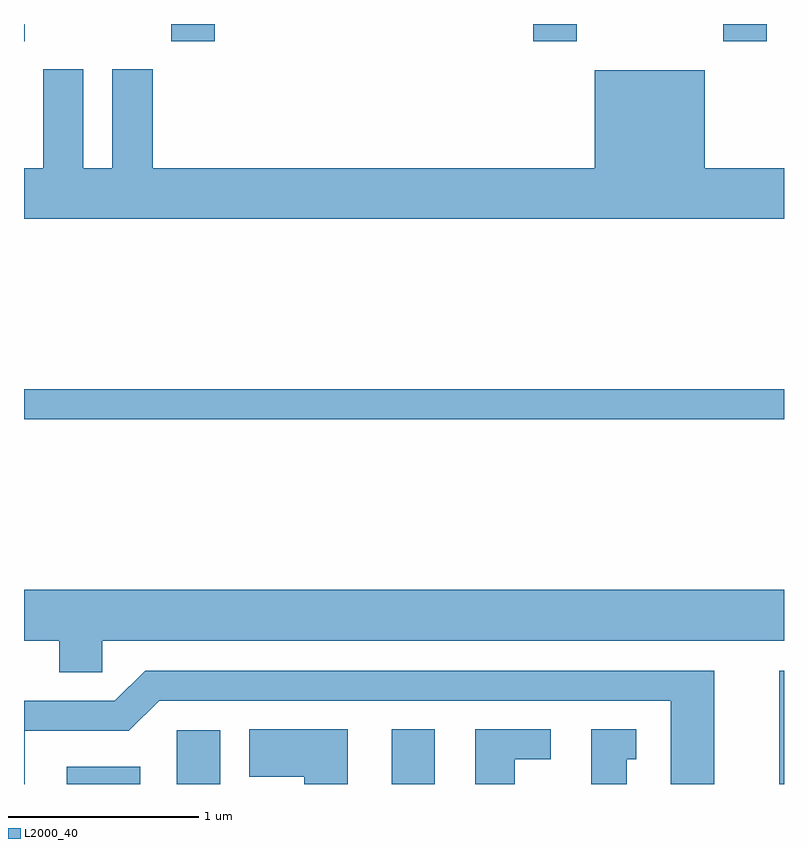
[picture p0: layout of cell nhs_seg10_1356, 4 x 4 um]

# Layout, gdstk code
import gdstk
lib = gdstk.Library(unit=1e-6, precision=1e-09)
def R(c, l, rs):  # rectangles x0, y0, x1, y1
    for r in rs: c.add(gdstk.rectangle(r[:2], r[2:], *l))
def P(c, l, *ps):  # polygons
    for p in ps: c.add(gdstk.Polygon(p, *l))
L2000_40 = (2000, 40)

nhs_seg10_1356 = lib.new_cell('nhs_seg10_1356')
R(nhs_seg10_1356, L2000_40, [(225.836,2086.522,226.224,2086.614), (226.416,2086.522,226.644,2086.804), (227.546,2086.522,227.774,2086.809), (229.586,2086.522,229.611,2087.119), (225.611,2088.441,229.611,2088.599), (225.611,2090.431,225.614,2090.522), (226.386,2090.431,226.614,2090.522), (228.291,2090.431,228.519,2090.522), (229.291,2090.431,229.519,2090.522)])
P(nhs_seg10_1356, L2000_40, [(229.611,2089.764),(229.194,2089.764),(229.194,2090.279),(228.616,2090.279),(228.616,2089.764),(226.289,2089.764),(226.289,2090.284),(226.076,2090.284),(226.076,2089.764),(225.924,2089.764),(225.924,2090.284),(225.711,2090.284),(225.711,2089.764),(225.611,2089.764),(225.611,2089.496),(229.611,2089.496)],
  [(226.024,2087.276),(229.611,2087.276),(229.611,2087.544),(225.611,2087.544),(225.611,2087.276),(225.796,2087.276),(225.796,2087.111),(226.024,2087.111)],
  [(225.614,2086.801),(226.162,2086.801),(226.322,2086.961),(229.016,2086.961),(229.016,2086.522),(229.244,2086.522),(229.244,2087.119),(226.249,2087.119),(226.089,2086.959),(225.611,2086.959),(225.611,2086.522),(225.614,2086.522)],
  [(228.784,2086.651),(228.833,2086.651),(228.833,2086.809),(228.596,2086.809),(228.596,2086.522),(228.784,2086.522)],
  [(228.194,2086.651),(228.383,2086.651),(228.383,2086.809),(227.986,2086.809),(227.986,2086.522),(228.194,2086.522)],
  [(227.314,2086.809),(226.796,2086.809),(226.796,2086.561),(227.086,2086.561),(227.086,2086.522),(227.314,2086.522)])

lib.write_gds('nhs_seg10_1356.gds')
